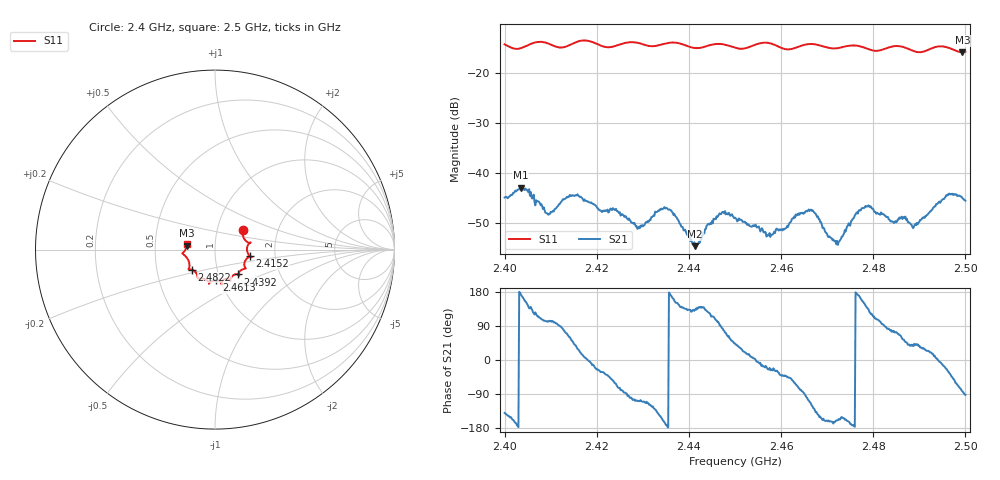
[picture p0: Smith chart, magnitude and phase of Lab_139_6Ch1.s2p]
# Hz S RI R 50
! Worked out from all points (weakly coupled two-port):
!   601 points, 2.4 GHz to 2.5 GHz, reference 50 ohm
!   highest |S21| = -42.95 dB at 2.4035 GHz (marker M1); lowest = -54.6 dB at 2.4413 GHz (marker M2)
!   lowest |S11| = -15.9 dB at 2.4993 GHz (marker M3), VSWR 1.38, Z = 36.3 + j1.59 ohm
!   |S11| at or under -10 dB: start of sweep to end of sweep
!   S12 and S22 are empty: the file has one direction only
!   S11 on the Smith chart (normalised r, x): 2.4 GHz: 1.33, +0.31; 2.4152 GHz: 1.48, -0.11; 2.4392 GHz: 1.23, -0.35; 2.4613 GHz: 0.96, -0.34; 2.4822 GHz: 0.76, -0.17; 2.5 GHz: 0.73, +0.05
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2.4e9  0.1557 0.1113  -0.00434 -0.00368  0 0  0 0
2.4035e9  0.1664 0.055  -0.00707 0.000798  0 0  0 0
2.409333e9  0.193 0.0368  -0.00074 0.00385  0 0  0 0
2.415167e9  0.1947 -0.0367  0.00445 0.00387  0 0  0 0
2.416667e9  0.2042 -0.0424  0.0055 0.00157  0 0  0 0
2.428833e9  0.1684 -0.1053  -0.000862 -0.00263  0 0  0 0
2.433333e9  0.1322 -0.1322  -0.00333 -0.00257  0 0  0 0
2.439167e9  0.127 -0.1382  -0.00193 0.00192  0 0  0 0
2.441333e9  0.1054 -0.1408  -0.00127 0.00137  0 0  0 0
2.447e9  0.0857 -0.1728  0.000139 0.00388  0 0  0 0
2.45e9  0.069 -0.1635  0.0026 0.00247  0 0  0 0
2.457333e9  0.04 -0.1936  0.00216 -0.000998  0 0  0 0
2.461333e9  0.0076 -0.1706  0.00209 -0.00212  0 0  0 0
2.466667e9  -0.0331 -0.1903  -0.00211 -0.00362  0 0  0 0
2.472e9  -0.0657 -0.1621  -0.00182 -0.00068  0 0  0 0
2.478e9  -0.0973 -0.149  -0.00386 0.00225  0 0  0 0
2.482167e9  -0.1285 -0.1118  -0.000228 0.00387  0 0  0 0
2.483333e9  -0.1398 -0.1103  0.000435 0.00345  0 0  0 0
2.488833e9  -0.1421 -0.0811  0.00216 0.00195  0 0  0 0
2.496167e9  -0.1773 -0.0171  0.00533 -0.00299  0 0  0 0
2.499333e9  -0.1584 0.0213  0.000743 -0.00559  0 0  0 0
2.5e9  -0.1579 0.0335  -0.000196 -0.0053  0 0  0 0
